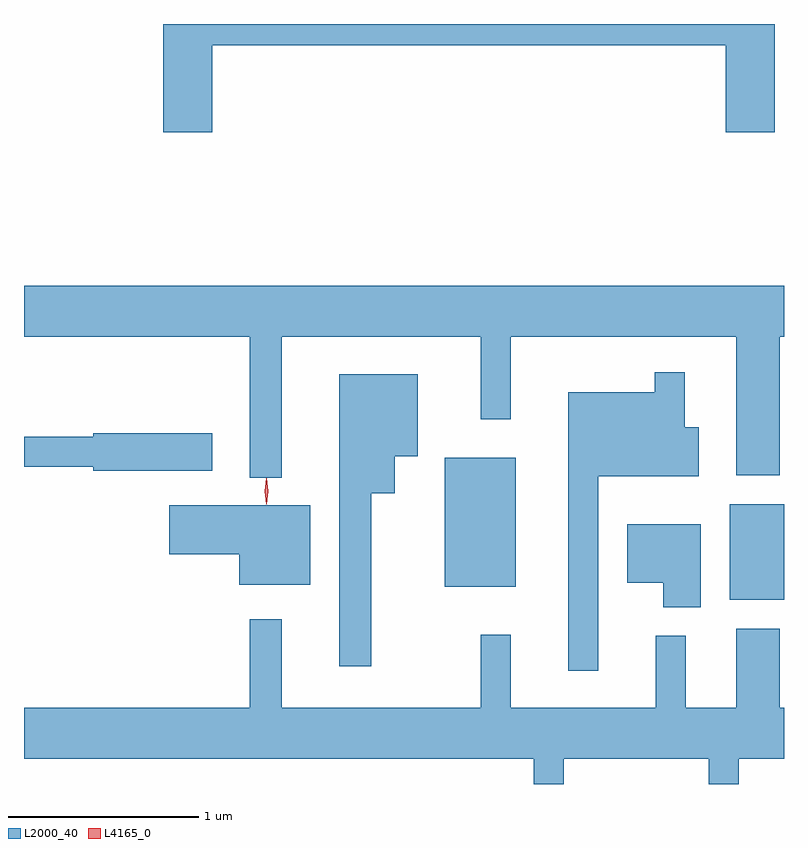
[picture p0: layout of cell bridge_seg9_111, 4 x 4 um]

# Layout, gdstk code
import gdstk
lib = gdstk.Library(unit=1e-6, precision=1e-09)
def R(c, l, rs):  # rectangles x0, y0, x1, y1
    for r in rs: c.add(gdstk.rectangle(r[:2], r[2:], *l))
def P(c, l, *ps):  # polygons
    for p in ps: c.add(gdstk.Polygon(p, *l))
L2000_40 = (2000, 40)
L4165_0 = (4165, 0)

bridge_seg9_111 = lib.new_cell('bridge_seg9_111')
R(bridge_seg9_111, L2000_40, [(1838.476,1966.011,1838.762,1966.514), (1836.976,1966.081,1837.349,1966.759)])
P(bridge_seg9_111, L2000_40, [(1835.754,1968.931),(1838.456,1968.931),(1838.456,1968.471),(1838.714,1968.471),(1838.714,1969.042),(1835.496,1969.042),(1835.496,1968.471),(1835.754,1968.471)],
  [(1836.119,1967.396),(1837.166,1967.396),(1837.166,1966.963),(1837.324,1966.963),(1837.324,1967.396),(1838.511,1967.396),(1838.511,1966.666),(1838.739,1966.666),(1838.739,1967.396),(1838.762,1967.396),(1838.762,1967.664),(1834.762,1967.664),(1834.762,1967.396),(1835.951,1967.396),(1835.951,1966.653),(1836.119,1966.653)],
  [(1837.784,1966.661),(1838.314,1966.661),(1838.314,1966.919),(1838.239,1966.919),(1838.239,1967.208),(1838.081,1967.208),(1838.081,1967.104),(1837.626,1967.104),(1837.626,1965.638),(1837.784,1965.638)],
  [(1836.589,1966.571),(1836.714,1966.571),(1836.714,1966.766),(1836.834,1966.766),(1836.834,1967.199),(1836.421,1967.199),(1836.421,1965.663),(1836.589,1965.663)],
  [(1835.754,1966.889),(1835.126,1966.889),(1835.126,1966.869),(1834.762,1966.869),(1834.762,1966.711),(1835.126,1966.711),(1835.126,1966.691),(1835.754,1966.691)],
  [(1836.269,1966.509),(1835.526,1966.509),(1835.526,1966.251),(1835.896,1966.251),(1835.896,1966.091),(1836.269,1966.091)],
  [(1838.324,1966.409),(1837.936,1966.409),(1837.936,1966.101),(1838.126,1966.101),(1838.126,1965.971),(1838.324,1965.971)],
  [(1837.604,1965.176),(1838.366,1965.176),(1838.366,1965.042),(1838.524,1965.042),(1838.524,1965.176),(1838.762,1965.176),(1838.762,1965.444),(1838.739,1965.444),(1838.739,1965.859),(1838.511,1965.859),(1838.511,1965.444),(1838.244,1965.444),(1838.244,1965.823),(1838.086,1965.823),(1838.086,1965.444),(1837.324,1965.444),(1837.324,1965.828),(1837.166,1965.828),(1837.166,1965.444),(1836.119,1965.444),(1836.119,1965.908),(1835.951,1965.908),(1835.951,1965.444),(1834.762,1965.444),(1834.762,1965.176),(1837.446,1965.176),(1837.446,1965.042),(1837.604,1965.042)])
P(bridge_seg9_111, L4165_0, [(1836.038,1966.514),(1836.028,1966.582),(1836.038,1966.65),(1836.038,1966.65),(1836.039,1966.65),(1836.048,1966.582),(1836.039,1966.514),(1836.039,1966.514)],
  [(1836.039,1966.52),(1836.038,1966.521),(1836.029,1966.584),(1836.038,1966.647),(1836.038,1966.647),(1836.039,1966.647),(1836.048,1966.584),(1836.039,1966.521)])

lib.write_gds('bridge_seg9_111.gds')
